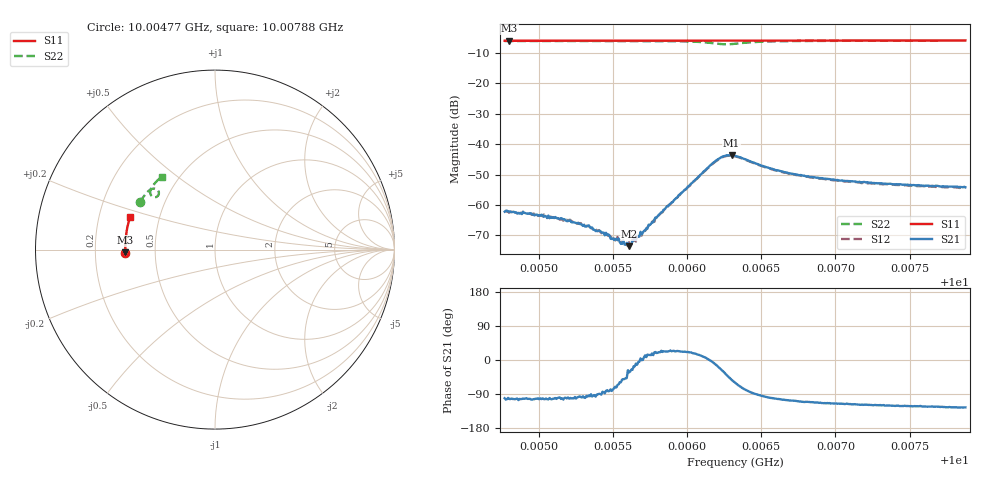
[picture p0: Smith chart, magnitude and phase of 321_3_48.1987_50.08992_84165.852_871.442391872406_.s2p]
#  HZ  S  RI  R  50.00
! Rohde & Schwarz Vector Network Analyzer
! Rohde-Schwarz,ZNB20-2Port,1311601062101988,3.16
! Created: UTC 3/20/2024, 11:50:30 AM
! freq[Hz]  re:S11  im:S11  re:S21  im:S21  re:S12  im:S12  re:S22  im:S22
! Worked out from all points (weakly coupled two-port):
!   401 points, 10.00477 GHz to 10.00788 GHz, reference 50 ohm
!   highest |S21| = -43.62 dB at 10.0063 GHz (marker M1); lowest = -73.5 dB at 10.00561 GHz (marker M2)
!   lowest |S11| = -6.0 dB at 10.0048 GHz (marker M3), VSWR 2.99, Z = 16.7 - j0.674 ohm
!   |S11| at or under -10 dB: nowhere
!   |S22| runs from -7.2 to -6.0 dB; largest |S21 - S12| = 0.0004
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1.000477e10  -0.4989 -0.0171  -0.000148 -0.000762  -0.000135 -0.000767  -0.417 0.2642
1.0004801e10  -0.4989 -0.0151  -0.000174 -0.000763  -0.000115 -0.000733  -0.416 0.266
1.0005034e10  -0.4997 5.61e-05  -0.000144 -0.000622  -0.000102 -0.000692  -0.4077 0.2799
1.0005158e10  -0.4999 0.00817  -0.000114 -0.000584  -8.11e-05 -0.000577  -0.403 0.2873
1.000529e10  -0.4999 0.0168  -7.47e-05 -0.000471  -4.49e-05 -0.000474  -0.3977 0.2952
1.0005345e10  -0.5 0.0203  -4.31e-05 -0.000435  -3.64e-06 -0.000432  -0.3953 0.2986
1.0005391e10  -0.4998 0.0232  -9.08e-06 -0.000375  -9.2e-06 -0.000384  -0.3932 0.3012
1.0005461e10  -0.4998 0.0278  5.77e-05 -0.000315  4.49e-05 -0.000323  -0.3901 0.3056
1.00055e10  -0.4998 0.0303  5.8e-05 -0.000278  0.000117 -0.000287  -0.3881 0.3079
1.0005585e10  -0.4995 0.0359  0.000147 -0.000166  0.000166 -0.000153  -0.3839 0.3132
1.0005609e10  -0.4994 0.0374  0.000177 -0.000114  0.000205 -0.000132  -0.3826 0.3146
1.000571e10  -0.4991 0.044  0.000372 4.9e-05  0.000361 4.35e-05  -0.3768 0.3209
1.0005756e10  -0.4989 0.0468  0.000476 0.000108  0.000471 0.000149  -0.3736 0.324
1.000581e10  -0.4986 0.0505  0.000651 0.000244  0.000633 0.000258  -0.3698 0.3275
1.0006175e10  -0.4961 0.074  0.00488 -0.000539  0.00481 -0.000367  -0.3166 0.3282
1.0006245e10  -0.4954 0.0782  0.00543 -0.00324  0.00545 -0.00293  -0.3148 0.305
1.00063e10  -0.495 0.0814  0.00404 -0.00521  0.0042 -0.00485  -0.3295 0.2923
1.0006323e10  -0.495 0.0828  0.0032 -0.00557  0.00341 -0.00534  -0.3375 0.2916
1.0006587e10  -0.4928 0.0998  -0.00075 -0.00377  -0.000558 -0.0037  -0.3599 0.3304
1.0006843e10  -0.4898 0.1161  -0.00105 -0.00269  -0.000926 -0.00266  -0.3487 0.3531
1.0007363e10  -0.4821 0.1488  -0.00112 -0.00193  -0.00102 -0.00195  -0.3231 0.383
1.0007876e10  -0.4722 0.1803  -0.00113 -0.0016  -0.00104 -0.00164  -0.2969 0.4065
